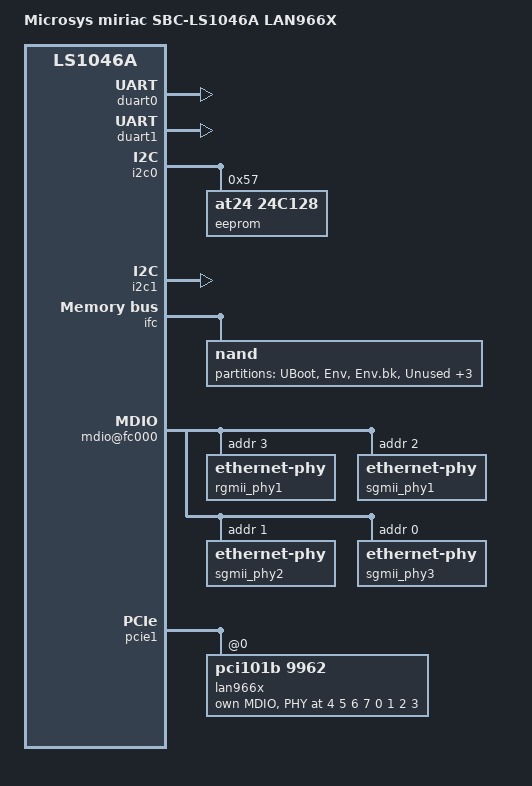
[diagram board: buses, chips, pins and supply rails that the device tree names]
// SPDX-License-Identifier: (GPL-2.0+ OR MIT)

/dts-v1/;

#include "fsl-ls1046a.dtsi"
#include "fsl-ls1046a-miriac-mpxls1046.dtsi"

/ {
	model = "Microsys miriac SBC-LS1046A LAN966X";
	compatible = "microsys,sbc1046a", "microsys,mpxls1046a", "fsl,ls1046a";

	aliases {
		ethernet0 = &enet2;
		ethernet1 = &enet4;
		ethernet2 = &enet5;
		ethernet3 = &enet6;
		ethernet4 = &lan966x_switch;

		serial0 = &duart0;
		serial1 = &duart1;
		serial2 = &duart2;
		serial3 = &duart3;
	};

	chosen {
		stdout-path = "serial0:115200n8";
	};
};

&duart0 {
	status = "okay";
};

&duart1 {
	status = "okay";
};

&i2c0 {
	status = "okay";

	eeprom@57 {
		compatible = "at24,24c128";
		reg = <0x57>;
	};
};

&i2c1 {
	status = "okay";
};

&ifc {
	nand@0,0 {
		partition@0 {
			reg = <0x0 0x00100000>;
			label = "UBoot";
			read-only;
		};

		partition@100000 {
			reg = <0x00100000 0x00040000>;
			label = "Env";
		};

		partition@140000 {
			reg = <0x00140000 0x00040000>;
			label = "Env.bk";
		};

		partition@180000 {
			reg = <0x00180000 0x00080000>;
			label = "Unused";
		};

		partition@200000 {
			reg = <0x00200000 0x01400000>;
			label = "linux";
		};

		partition@1600000 {
			reg = <0x01600000 0x01400000>;
			label = "linux.bk";
		};

		partition@2a00000 {
			reg = <0x02a00000 0x1d600000>;
			label = "rootfs_data";
		};
	};
};

#include "fsl-ls1046-post.dtsi"

&fman0 {
	compatible = "fsl,fman", "simple-bus";

	ethernet@e4000 {
		phy-handle = <&rgmii_phy1>;
		phy-connection-type = "rgmii";
	};

	ethernet@e8000 {
		phy-handle = <&sgmii_phy1>;
		phy-connection-type = "sgmii";
	};

	ethernet@ea000 {
		phy-handle = <&sgmii_phy2>;
		phy-connection-type = "sgmii";
	};

	ethernet@f0000 {
		phy-handle = <&sgmii_phy3>;
		phy-connection-type = "sgmii";
	};

	mdio@fc000 {
		rgmii_phy1: ethernet-phy@3 {
			reg = <3>;
		};

		sgmii_phy1: ethernet-phy@2 {
			reg = <2>;
		};

		sgmii_phy2: ethernet-phy@1 {
			reg = <1>;
		};

		sgmii_phy3: ethernet-phy@0 {
			reg = <0>;
		};
	};
};

&pcie1 {
	pci@0,0 {
		#address-cells = <3>;
		#size-cells = <2>;
		reg = <0 0 0 0 0>;
		device_type = "pci";
		ranges = <0x82000000 0x0 0x40000000 0x82000000 0x0 0x40000000 0 0x40000000>;

		lan966x: switch@101b,9956 {
			compatible = "pci101b,9962";

			reg = <0x0000 0 0 0 0>;
			#address-cells = <1>;
			#size-cells = <1>;
			ranges = <0x00000000 0x82000000 0x0 0x40000000 0x4000000>,
				 <0x44000000 0x82000000 0x0 0x44000000 0x020000>;

			#interrupt-cells = <1>;
			interrupt-controller;
			interrupt-parent = <&lan966x>;

			lan966x_uio0: mscc_switch@0 {
				compatible = "microchip,uio_lan966x_irqmux";
				reg = <0x0 0x4000000>;
				status = "okay";
			};

			lan966x_uio1: mscc_sram@44000000 {
				compatible = "microchip,uio_lan966x_irqmux";
				reg = <0x44000000 0x20000>;
				status = "okay";
			};

			gpio: pinctrl@e2004070 {
				compatible = "microchip,lan966x-pinctrl";
				reg = <GCB_GPIO_ADDR GCB_GPIO_SIZE>,
				      <CHIP_TOP_GPIO_CFG_ADDR CHIP_TOP_GPIO_CFG_SIZE>;
				gpio-controller;
				#gpio-cells = <2>;
				gpio-ranges = <&gpio 0 0 78>;

				mdio_pins: mdio_pins {
					pins =  "GPIO_29";
					function = "mdio";
				};

				mdc_pins: mdc_pins {
					pins =  "GPIO_28";
					function = "mdc";
				};

				tod_pins: tod_pins {
					pins = "GPIO_36";
					function = "ptpsync_1";
				};
			};

			lan966x_mdio0: mdio@700e8 {
				#address-cells = <1>;
				#size-cells = <0>;
				compatible = "mscc,ocelot-miim";
				reg = <GCB_MIIM_0_ADDR GCB_MIIM_0_SIZE>;
				status = "okay";

				pinctrl-0 = <&mdio_pins>, <&mdc_pins>;
				pinctrl-names = "default";

				phy0: ethernet-phy@0 {
					reg = <4>;
				};
				phy1: ethernet-phy@1 {
					reg = <5>;
				};
				phy2: ethernet-phy@2 {
					reg = <6>;
				};
				phy3: ethernet-phy@3 {
					reg = <7>;
				};
				phy4: ethernet-phy@4 {
					reg = <0>;
				};
				phy5: ethernet-phy@5 {
					reg = <1>;
				};
				phy6: ethernet-phy@6 {
					reg = <2>;
				};
				phy7: ethernet-phy@7 {
					reg = <3>;
				};
			};

			dma: dma-controller@200a0400 {
				compatible = "lan966x-fdma";

				reg = <FDMA_ADDR FDMA_SIZE>;
				reg-names = "fdma";
				interrupts = <14>;
				interrupt-names = "fdma";

				#dma-cells = <1>;
				dma-channels = <8>;
				status = "okay";

				memory-region = <&fdma_memory>;
			};

			lan966x_switch: switch@0 {
				compatible = "microchip,lan966x-switch";
				reg = <0x00000000 0x0100000>,
				      <0x02000000 0x0800000>;
				reg-names = "cpu", "gcb";

				interrupts = <10 11 12 9>;
				interrupt-names = "ptp-sync", "ptp", "xtr", "ana";

				pinctrl-0 = <&tod_pins>;
				pinctrl-names = "default";

				ethernet-ports {
					#address-cells = <1>;
					#size-cells = <0>;

					port0: port@0 {
						reg = <0>;
						phy-handle = <&phy0>;
						phy-mode = "gmii";
						#address-cells = <1>;
						#size-cells = <0>;

						delay0 {
							reg = <0>;
							speed = <1000>;
							rx_delay = <0x25000>;
							tx_delay = <0x25000>;
						};

						delay1 {
							reg = <0>;
							speed = <100>;
							rx_delay = <0x8f050>;
							tx_delay = <0x8f050>;
						};

						delay2 {
							reg = <0>;
							speed = <10>;
							rx_delay = <0x4b8000>;
							tx_delay = <0x4b8000>;
						};
					};

					port1: port@1 {
						reg = <1>;
						phy-handle = <&phy1>;
						phy-mode = "gmii";
						#address-cells = <1>;
						#size-cells = <0>;

						delay0 {
							reg = <0>;
							speed = <1000>;
							rx_delay = <0x25000>;
							tx_delay = <0x25000>;
						};

						delay1 {
							reg = <0>;
							speed = <100>;
							rx_delay = <0x8f050>;
							tx_delay = <0x8f050>;
						};

						delay2 {
							reg = <0>;
							speed = <10>;
							rx_delay = <0x4b8000>;
							tx_delay = <0x4b8000>;
						};
					};

					port2: port@2 {
						reg = <2>;
						phy-handle = <&phy2>;
						phy-mode = "gmii";
						#address-cells = <1>;
						#size-cells = <0>;

						delay0 {
							reg = <0>;
							speed = <1000>;
							rx_delay = <0x25000>;
							tx_delay = <0x25000>;
						};

						delay1 {
							reg = <0>;
							speed = <100>;
							rx_delay = <0x8f050>;
							tx_delay = <0x8f050>;
						};

						delay2 {
							reg = <0>;
							speed = <10>;
							rx_delay = <0x4b8000>;
							tx_delay = <0x4b8000>;
						};
					};

					port3: port@3 {
						reg = <3>;
						phy-handle = <&phy3>;
						phy-mode = "gmii";
						#address-cells = <1>;
						#size-cells = <0>;

						delay0 {
							reg = <0>;
							speed = <1000>;
							rx_delay = <0x25000>;
							tx_delay = <0x25000>;
						};

						delay1 {
							reg = <0>;
							speed = <100>;
							rx_delay = <0x8f050>;
							tx_delay = <0x8f050>;
						};

						delay2 {
							reg = <0>;
							speed = <10>;
							rx_delay = <0x4b8000>;
							tx_delay = <0x4b8000>;
						};
					};

					port4: port@4 {
						reg = <4>;
						phy-handle = <&phy4>;
						phy-mode = "qsgmii";
						#address-cells = <1>;
						#size-cells = <0>;

						delay0 {
							reg = <0>;
							speed = <1000>;
							rx_delay = <0x25000>;
							tx_delay = <0x25000>;
						};

						delay1 {
							reg = <0>;
							speed = <100>;
							rx_delay = <0x8f050>;
							tx_delay = <0x8f050>;
						};

						delay2 {
							reg = <0>;
							speed = <10>;
							rx_delay = <0x4b8000>;
							tx_delay = <0x4b8000>;
						};
					};

					port5: port@5 {
						reg = <5>;
						phy-handle = <&phy5>;
						phy-mode = "qsgmii";
						#address-cells = <1>;
						#size-cells = <0>;

						delay0 {
							reg = <0>;
							speed = <1000>;
							rx_delay = <0x25000>;
							tx_delay = <0x25000>;
						};

						delay1 {
							reg = <0>;
							speed = <100>;
							rx_delay = <0x8f050>;
							tx_delay = <0x8f050>;
						};

						delay2 {
							reg = <0>;
							speed = <10>;
							rx_delay = <0x4b8000>;
							tx_delay = <0x4b8000>;
						};
					};

					port6: port@6 {
						reg = <6>;
						phy-handle = <&phy6>;
						phy-mode = "qsgmii";
						#address-cells = <1>;
						#size-cells = <0>;

						delay0 {
							reg = <0>;
							speed = <1000>;
							rx_delay = <0x25000>;
							tx_delay = <0x25000>;
						};

						delay1 {
							reg = <0>;
							speed = <100>;
							rx_delay = <0x8f050>;
							tx_delay = <0x8f050>;
						};

						delay2 {
							reg = <0>;
							speed = <10>;
							rx_delay = <0x4b8000>;
							tx_delay = <0x4b8000>;
						};
					};

					port7: port@7 {
						reg = <7>;
						phy-handle = <&phy7>;
						phy-mode = "qsgmii";
						#address-cells = <1>;
						#size-cells = <0>;

						delay0 {
							reg = <0>;
							speed = <1000>;
							rx_delay = <0x25000>;
							tx_delay = <0x25000>;
						};

						delay1 {
							reg = <0>;
							speed = <100>;
							rx_delay = <0x8f050>;
							tx_delay = <0x8f050>;
						};

						delay2 {
							reg = <0>;
							speed = <10>;
							rx_delay = <0x4b8000>;
							tx_delay = <0x4b8000>;
						};
					};
				};
			};
		};
	};
};
